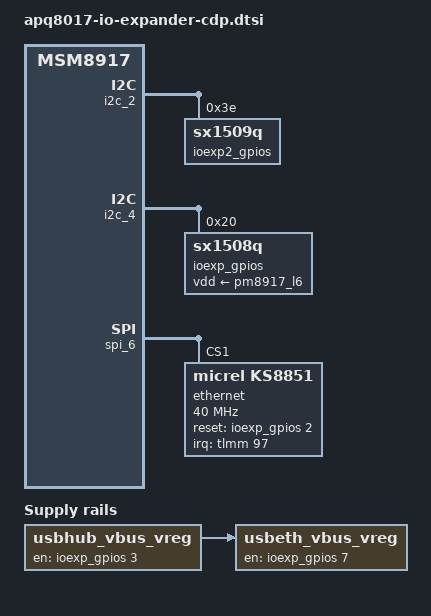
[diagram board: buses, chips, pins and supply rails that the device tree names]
/*
 * Copyright (c) 2015-2017, The Linux Foundation. All rights reserved.
 *
 * This program is free software; you can redistribute it and/or modify
 * it under the terms of the GNU General Public License version 2 and
 * only version 2 as published by the Free Software Foundation.
 *
 * This program is distributed in the hope that it will be useful,
 * but WITHOUT ANY WARRANTY; without even the implied warranty of
 * MERCHANTABILITY or FITNESS FOR A PARTICULAR PURPOSE.  See the
 * GNU General Public License for more details.
 */

#include "msm8917-pinctrl.dtsi"
#include "msm8917-camera-sensor-cdp.dtsi"

&soc {
	usbhub_vbus_vreg: usbhub_vbus_vreg {
		compatible = "regulator-fixed";
		regulator-name = "usbhub_vbus_vreg";
		gpio = <&ioexp_gpios 3 0>;
		enable-active-high;
	};

	usbeth_vbus_vreg: usbeth_vbus_vreg {
		compatible = "regulator-fixed";
		regulator-name = "usbeth_vbus_vreg";
		gpio = <&ioexp_gpios 7 0>;
		enable-active-high;
		vin-supply = <&usbhub_vbus_vreg>;
	};
};

/* SX1509q i/o expander */
&i2c_2 {
	status = "ok";
	ioexp2_gpios: sx150x@3e {
		status = "ok";
		compatible = "sx1509q";
		#gpio-cells = <2>;
		gpio-controller;
		reg = <0x3E>; /* I2C Client Addr */
		sx150x,pullup_ena = <0x0>;
		sx150x,pulldn_ena = <0x0>;
		sx150x,float_ena = <0x00>;
		sx150x,polarity = <0x0>;
		sx150x,gpio_base= <300>;
	};
};

/* SX1508q i/o expander */
&i2c_4 {
	status = "ok";
	ioexp_gpios: sx150x@20 {
		status = "ok";
		compatible = "sx1508q";
		#gpio-cells = <2>;
		gpio-controller;
		reg = <0x20>; /* I2C Client Addr */
		sx150x,pullup_ena = <0x0>;
		sx150x,pulldn_ena = <0x0>;
		sx150x,float_ena = <0x00>;
		sx150x,polarity = <0x0>;
		sx150x,gpio_base = <200>;
		vdd-supply = <&pm8917_l6>;
		qcom,vdd-max-voltage = <1800000>;
		qcom,vdd-min-voltage = <1800000>;
	};
	/* usb2533 flex hub */
	usb2533@2c {
		status = "disabled";
		compatible = "qcom,usb2533-flex-hub";
		reg = <0x2d>;
		vbus-supply = <&usbeth_vbus_vreg>;
		pinctrl-names = "default";
		pinctrl-0 = <&usb2533_hub_reset>;
		qcom,hub-reset-gpio = <&tlmm 100 0>;
		qcom,usbeth-reset-gpio = <&ioexp_gpios 5 0>;
	};
};

/* KS8851 eth over spi */
&spi_6 {
	status = "ok";
	ethernet@0 {
		status = "ok";
		compatible = "micrel,ks8851";
		reg = <1>;  /* CS-1 */
		interrupt-parent = <&tlmm>;
		interrupts = <97 0>;
		reset-gpios = <&ioexp_gpios 2 0>;
		spi-max-frequency = <40000000>;
	};
};

